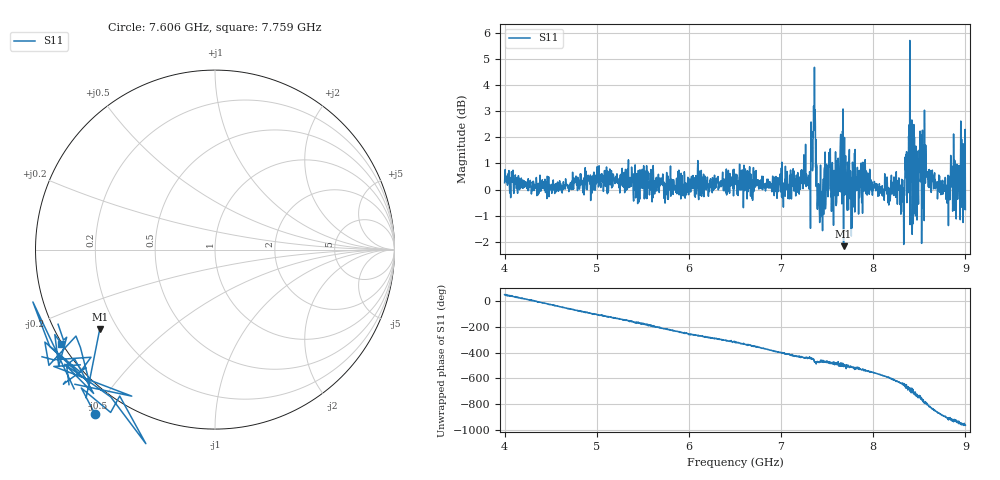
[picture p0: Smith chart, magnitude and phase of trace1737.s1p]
! Created with skrf 1.8.0 (http://scikit-rf.org).
# Hz S RI R 50.0
!freq ReS11 ImS11
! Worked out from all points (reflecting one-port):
!   1601 points, 4 GHz to 9 GHz, reference 50 ohm
!   lowest |S11| = -2.2 dB at 7.678 GHz (marker M1), VSWR 8.06, Z = 6.79 - j15.3 ohm
!   phase of S11 starts at 52 deg and turns -1018 deg over the sweep
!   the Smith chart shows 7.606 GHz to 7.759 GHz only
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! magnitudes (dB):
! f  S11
! 4 GHz  0.3
! 4.625 GHz  -0.1
! 5.25 GHz  -0.1
! 5.875 GHz  0.4
! 6.5 GHz  0.5
! 7.125 GHz  0.5
! 7.294 GHz  0.2
! 7.325 GHz  2.6
! 7.347 GHz  2.2
! 7.372 GHz  2.5
! 7.4 GHz  -0.2
! 7.425 GHz  -0.6
! 7.512 GHz  0.8
! 7.562 GHz  -0.7
! 7.609 GHz  0.6
! 7.65 GHz  1.4
! 7.678 GHz  -2.2
! 7.75 GHz  -0.4
! 7.891 GHz  0.2
! 8.316 GHz  0.0
! 8.375 GHz  0.6
! 8.394 GHz  0.1
! 8.447 GHz  2.0
! 8.556 GHz  3.0
! 8.609 GHz  0.8
! 8.812 GHz  0.5
! 8.972 GHz  0.6
! 9 GHz  -0.8
